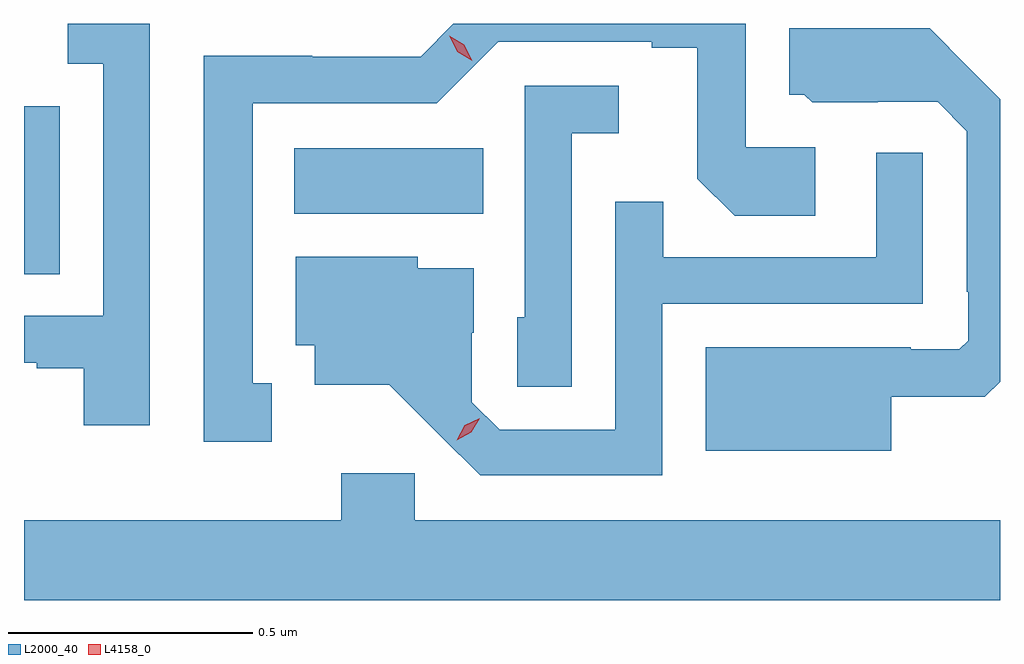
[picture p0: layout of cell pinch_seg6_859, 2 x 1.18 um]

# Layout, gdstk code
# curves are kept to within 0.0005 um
import gdstk
lib = gdstk.Library(unit=1e-6, precision=1e-09)
def R(c, l, rs):  # rectangles x0, y0, x1, y1
    for r in rs: c.add(gdstk.rectangle(r[:2], r[2:], *l))
def P(c, l, *ps):  # polygons
    for p in ps: c.add(gdstk.Polygon(p, *l))
L2000_40 = (2000, 40)
L4158_0 = (4158, 0)

pinch_seg6_859 = lib.new_cell('pinch_seg6_859')
R(pinch_seg6_859, L2000_40, [(126.603,967.984,126.676,968.328), (127.157,968.108,127.544,968.242)])
P(pinch_seg6_859, L2000_40, [(127.111,967.761),(127.072,967.761),(127.072,968.334),(127.449,968.334),(127.575,968.46),(127.889,968.46),(127.889,968.448),(127.983,968.448),(127.983,968.18),(128.059,968.104),(128.224,968.104),(128.224,968.244),(128.082,968.244),(128.082,968.497),(127.483,968.497),(127.416,968.43),(127.194,968.43),(127.194,968.432),(126.971,968.432),(126.971,967.641),(127.111,967.641)],
  [(126.861,968.497),(126.693,968.497),(126.693,968.415),(126.765,968.415),(126.765,967.899),(126.603,967.899),(126.603,967.803),(126.629,967.803),(126.629,967.791),(126.725,967.791),(126.725,967.674),(126.861,967.674)],
  [(128.38,967.733),(128.572,967.733),(128.603,967.764),(128.603,968.342),(128.459,968.488),(128.171,968.488),(128.171,968.352),(128.202,968.352),(128.218,968.336),(128.352,968.336),(128.352,968.337),(128.475,968.337),(128.535,968.277),(128.535,967.948),(128.538,967.948),(128.538,967.848),(128.52,967.83),(128.42,967.83),(128.42,967.834),(128,967.834),(128,967.622),(128.38,967.622)],
  [(127.725,968.273),(127.822,968.273),(127.822,968.37),(127.629,968.37),(127.629,967.896),(127.614,967.896),(127.614,967.753),(127.725,967.753)],
  [(127.911,967.923),(128.445,967.923),(128.445,968.233),(128.349,968.233),(128.349,968.019),(127.913,968.019),(127.913,968.132),(127.815,968.132),(127.815,967.665),(127.578,967.665),(127.521,967.722),(127.521,967.864),(127.525,967.864),(127.525,967.996),(127.41,967.996),(127.41,968.02),(127.16,968.02),(127.16,967.838),(127.199,967.838),(127.199,967.757),(127.351,967.757),(127.538,967.572),(127.911,967.572)],
  [(128.603,967.48),(127.404,967.48),(127.404,967.576),(127.253,967.576),(127.253,967.48),(126.603,967.48),(126.603,967.316),(128.603,967.316)])
P(pinch_seg6_859, L4158_0, [(127.49,967.644),(127.49,967.644),(127.506,967.674),(127.537,967.689),(127.537,967.689),(127.537,967.689),(127.52,967.66),(127.49,967.644)],
  [(127.522,968.421),(127.491,968.44),(127.474,968.473),(127.474,968.473),(127.474,968.473),(127.505,968.454),(127.522,968.421),(127.522,968.421)])

lib.write_gds('pinch_seg6_859.gds')
